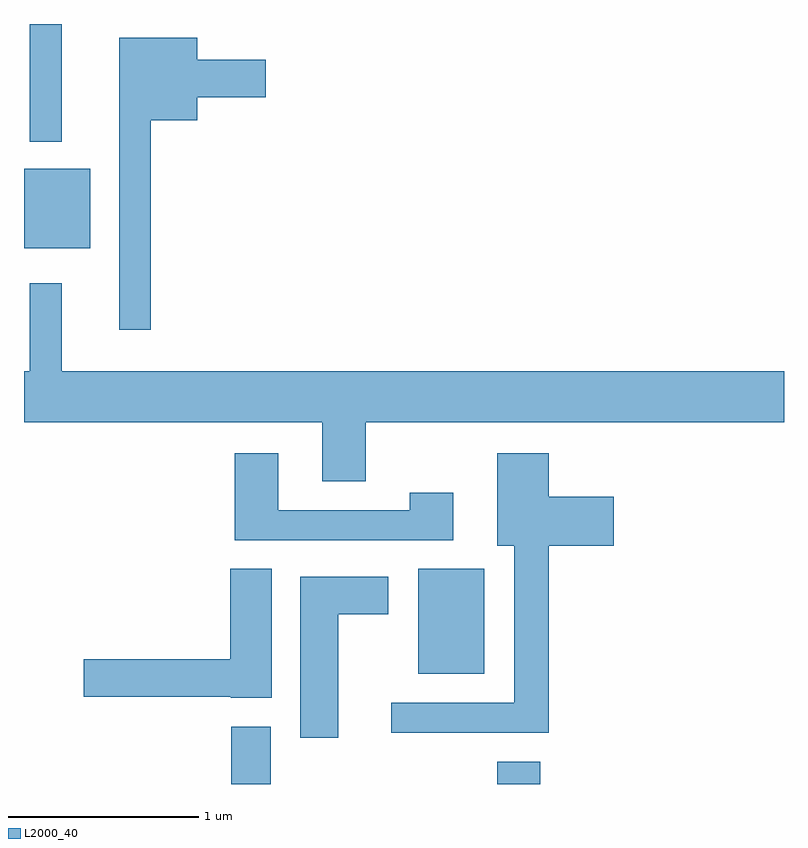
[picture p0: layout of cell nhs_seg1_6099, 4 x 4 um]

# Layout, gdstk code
import gdstk
lib = gdstk.Library(unit=1e-6, precision=1e-09)
def R(c, l, rs):  # rectangles x0, y0, x1, y1
    for r in rs: c.add(gdstk.rectangle(r[:2], r[2:], *l))
def P(c, l, *ps):  # polygons
    for p in ps: c.add(gdstk.Polygon(p, *l))
L2000_40 = (2000, 40)

nhs_seg1_6099 = lib.new_cell('nhs_seg1_6099')
R(nhs_seg1_6099, L2000_40, [(370.701,857.712,370.909,858.014), (372.101,857.712,372.329,857.829), (371.686,858.291,372.034,858.844), (369.611,860.531,369.959,860.949), (369.641,861.093,369.809,861.712)])
P(nhs_seg1_6099, L2000_40, [(370.279,861.206),(370.524,861.206),(370.524,861.326),(370.884,861.326),(370.884,861.524),(370.524,861.524),(370.524,861.639),(370.111,861.639),(370.111,860.103),(370.279,860.103)],
  [(371.409,859.616),(373.611,859.616),(373.611,859.884),(369.809,859.884),(369.809,860.348),(369.641,860.348),(369.641,859.884),(369.611,859.884),(369.611,859.616),(371.181,859.616),(371.181,859.306),(371.409,859.306)],
  [(372.374,858.966),(372.714,858.966),(372.714,859.224),(372.374,859.224),(372.374,859.454),(372.101,859.454),(372.101,858.966),(372.191,858.966),(372.191,858.139),(371.543,858.139),(371.543,857.981),(372.374,857.981)],
  [(371.869,859.244),(371.641,859.244),(371.641,859.154),(370.949,859.154),(370.949,859.454),(370.721,859.454),(370.721,858.996),(371.869,858.996)],
  [(370.914,858.844),(370.696,858.844),(370.696,858.369),(369.926,858.369),(369.926,858.171),(370.7,858.171),(370.7,858.166),(370.914,858.166)],
  [(371.264,858.606),(371.529,858.606),(371.529,858.804),(371.066,858.804),(371.066,857.956),(371.264,857.956)])

lib.write_gds('nhs_seg1_6099.gds')
